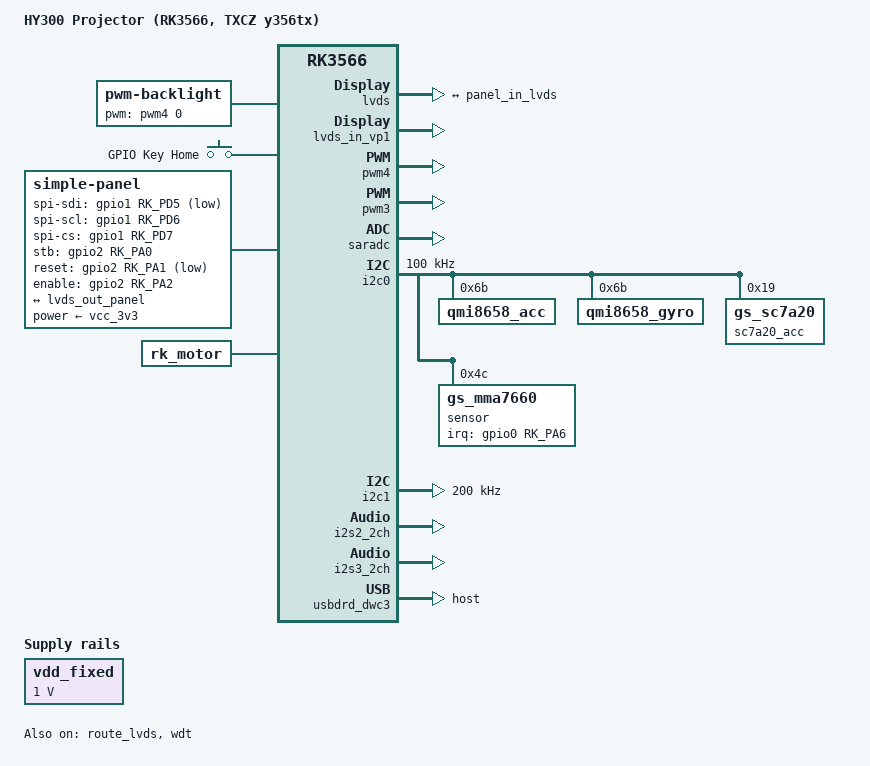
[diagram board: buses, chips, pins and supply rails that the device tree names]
// SPDX-License-Identifier: (GPL-2.0+ OR MIT)
/*
 * Projetor "HY300", variante Rockchip RK3566 com a ROM TXCZ LightOS
 * (placa rk3566_y356tx).
 *
 * O fabricante não publicou o fonte do kernel. Este DT foi reconstruído a partir do
 * DTB de fábrica (rk-kernel.dtb do resource.img, kernel 4.19.232): a TXCZ partiu da
 * placa de referência RK3566 BOX DEMO V10, então a base é a mesma placa no BSP 6.1
 * e aqui ficam só as diferenças. A comparação nó a nó com o DTB de fábrica é feita
 * com tools/dtnorm.py do repositório hy300-rk3566 (docs/kernel-6.1.md).
 *
 * Sem PMIC: a placa usa reguladores discretos, com vdd_cpu e vdd_logic por PWM.
 */

/dts-v1/;

#include "rk3566-box-demo-v10.dtsi"
#include "rk3568-android.dtsi"

/ {
	model = "HY300 Projector (RK3566, TXCZ y356tx)";
	/* Igual ao de fábrica: o U-Boot e o userspace da TXCZ não conhecem outro. */
	compatible = "rockchip,rk3566-box-demo-v10", "rockchip,rk3566";

	/*
	 * Teclas do painel do projetor no canal 1 do SARADC (a placa de referência usa o
	 * canal 0 com volume + e -).
	 */
	adc-keys {
		io-channels = <&saradc 1>;
		status = "okay";

		/delete-node/ vol-up-key;
		/delete-node/ vol-down-key;

		back-key {
			label = "back";
			linux,code = <KEY_BACK>;
			press-threshold-microvolt = <500>;
		};

		down-key {
			label = "down";
			linux,code = <KEY_DOWN>;
			press-threshold-microvolt = <980>;
		};

		left-key {
			label = "left";
			linux,code = <KEY_LEFT>;
			press-threshold-microvolt = <320>;
		};

		ok-key {
			label = "ok";
			linux,code = <KEY_ENTER>;
			press-threshold-microvolt = <160>;
		};

		right-key {
			label = "right";
			linux,code = <KEY_RIGHT>;
			press-threshold-microvolt = <40>;
		};

		up-key {
			label = "up";
			linux,code = <KEY_UP>;
			press-threshold-microvolt = <1345>;
		};
	};

	/* Brilho do LED do projetor (PWM4, 40 kHz). */
	backlight: backlight {
		compatible = "pwm-backlight";
		pwms = <&pwm4 0 25000 0>;
		brightness-levels = <
			  0   1   2   3   4   5   6   7   8   9  10  11  12  13  14  15
			 16  17  18  19  20  21  22  23  24  25  26  27  28  29  30  31
			 32  33  34  35  36  37  38  39  40  41  42  43  44  45  46  47
			 48  49  50  51  52  53  54  55  56  57  58  59  60  61  62  63
			 64  65  66  67  68  69  70  71  72  73  74  75  76  77  78  79
			 80  81  82  83  84  85  86  87  88  89  90  91  92  93  94  95
			 96  97  98  99 100 101 102 103 104 105 106 107 108 109 110 111
			112 113 114 115 116 117 118 119 120 121 122 123 124 125 126 127
			128 129 130 131 132 133 134 135 136 137 138 139 140 141 142 143
			144 145 146 147 148 149 150 151 152 153 154 155 156 157 158 159
			160 161 162 163 164 165 166 167 168 169 170 171 172 173 174 175
			176 177 178 179 180 181 182 183 184 185 186 187 188 189 190 191
			192 193 194 195 196 197 198 199 200 201 202 203 204 205 206 207
			208 209 210 211 212 213 214 215 216 217 218 219 220 221 222 223
			224 225 226 227 228 229 230 231 232 233 234 235 236 237 238 239
			240 241 242 243 244 245 246 247 248 249 250 251 252 253 254 255>;
		default-brightness-level = <200>;
	};

	/* Codec "mudo" para o I2S1 (áudio interno, amplificador sem controle). */
	dummy_codec: dummy-codec {
		compatible = "rockchip,dummy-codec";
		#sound-dai-cells = <0>;
		clocks = <&cru I2S1_MCLKOUT>;
		clock-names = "mclk";
		assigned-clocks = <&cru I2S1_MCLKOUT>, <&cru I2S1_MCLK_TX_IOE>;
		assigned-clock-rates = <12288000>;
		assigned-clock-parents = <&cru I2S1_MCLKOUT_TX>, <&cru I2S1_MCLKOUT_TX>;
		pinctrl-names = "default";
		pinctrl-0 = <&i2s1m0_mclk>;
		status = "okay";
	};

	gpio-keys {
		compatible = "gpio-keys";
		autorepeat;
		status = "okay";

		/*
		 * Botão de liga/desliga. Mesmo pino do LED "green" abaixo (GPIO1_B0), como no
		 * DT de fábrica.
		 */
		power-key {
			label = "GPIO Key Home";
			interrupt-parent = <&gpio1>;
			interrupts = <RK_PB0 IRQ_TYPE_NONE>;
			linux,input-type = <EV_KEY>;
			linux,code = <KEY_POWER>;
			debounce-interval = <10>;
		};
	};

	/*
	 * LEDs, ventoinha e alimentação do painel são saídas simples. Os nomes são os
	 * da TXCZ: o app de configurações acessa /sys/class/leds/<nome>.
	 */
	gpio-leds {
		/delete-node/ ir-led;
		/delete-node/ work-led;

		green {
			gpios = <&gpio1 RK_PB0 GPIO_ACTIVE_LOW>;
			linux,default-trigger = "none";
			default-state = "on";
			retain-state-suspended;
		};

		red {
			gpios = <&gpio1 RK_PB1 GPIO_ACTIVE_HIGH>;
			linux,default-trigger = "none";
			default-state = "on";
			retain-state-suspended;
		};

		/*
		 * Ventoinha: precisa estar ligada desde o boot e continuar ligada no shutdown
		 * (sem retain-state-shutdown o gpio-leds a apaga antes do reboot).
		 */
		Fan_h {
			gpios = <&gpio0 RK_PB5 GPIO_ACTIVE_HIGH>;
			linux,default-trigger = "none";
			default-state = "on";
			retain-state-suspended;
			retain-state-shutdown;
		};

		Lcd_power {
			gpios = <&gpio0 RK_PC4 GPIO_ACTIVE_HIGH>;
			linux,default-trigger = "none";
			default-state = "keep";
			retain-state-suspended;
		};
	};

	/* Codec "mudo" do lado do RK628 (áudio da entrada HDMI). */
	hdmi_in_codec: hdmi-codec {
		compatible = "rockchip,dummy-codec";
		#sound-dai-cells = <0>;
		status = "okay";
	};

	hdmi-in-sound {
		compatible = "simple-audio-card";
		simple-audio-card,format = "i2s";
		simple-audio-card,name = "rockchip,hdmiin";
		simple-audio-card,bitclock-master = <&hdmiin_codec_dai>;
		simple-audio-card,frame-master = <&hdmiin_codec_dai>;
		status = "okay";

		simple-audio-card,cpu {
			sound-dai = <&i2s3_2ch>;
		};

		hdmiin_codec_dai: simple-audio-card,codec {
			sound-dai = <&hdmi_in_codec>;
		};
	};

	/*
	 * Painel LVDS 1024x600. O Android de fábrica renderiza em 1280x720 e o HWC reduz.
	 * As linhas spi-* são do controlador do painel (a TXCZ não usa no kernel).
	 */
	panel: panel {
		compatible = "simple-panel";
		power-supply = <&vcc_3v3>;
		enable-delay-ms = <20>;
		prepare-delay-ms = <20>;
		unprepare-delay-ms = <20>;
		disable-delay-ms = <20>;
		pinctrl-names = "default";
		pinctrl-0 = <&lcd_rst_gpio &lcd_enable_gpio &lcd_sda &lcd_scl &lcd_cs &lcd_stb>;
		spi-sdi-gpios = <&gpio1 RK_PD5 GPIO_ACTIVE_LOW>;
		spi-scl-gpios = <&gpio1 RK_PD6 GPIO_ACTIVE_HIGH>;
		spi-cs-gpios = <&gpio1 RK_PD7 GPIO_ACTIVE_HIGH>;
		/*
		 * O controlador do painel LCD só mostra imagem depois de receber esta configuração
		 * por SPI de 3 fios em bit-bang (8 bits, MSB primeiro), igual ao panel_simple_probe
		 * do kernel de fábrica. Cada quadro: atraso em ms depois dele, tamanho e bytes.
		 * Tirada da Image de fábrica com tools/txcz_panel_seq.py (repositório hy300-rk3566).
		 * Os níveis são brutos: as flags de polaridade das linhas spi-* não se aplicam aqui.
		 */
		hy300,stb-gpios = <&gpio2 RK_PA0 GPIO_ACTIVE_HIGH>;
		hy300,spi-init-sequence = /bits/ 8 <
			0x00 0x07 0xf1 0x01 0x03 0xdf 0x91 0x68 0xf9
			0x00 0x05 0xf1 0x01 0x01 0xde 0x00
			0x00 0x06 0xf1 0x01 0x02 0xb2 0x00 0xb1
			0x00 0x06 0xf1 0x01 0x02 0xb3 0x00 0xb1
			0x00 0x06 0xf1 0x01 0x02 0xc1 0x00 0x0c
			0x00 0x0b 0xf1 0x01 0x07 0xbb 0x00 0x15 0x00 0x19 0x29 0x44 0x44
			0x00 0x06 0xf1 0x01 0x02 0xbe 0x1a 0xf1
			0x00 0x18 0xf1 0x01 0x14 0xc3 0x10 0x23 0x78 0x23 0x78 0x05 0x05 0x05 0x05 0x15 0x15 0x31 0x85 0x1c 0x05 0x6c 0x0a 0x10 0x0a 0x10
			0x00 0x0b 0xf1 0x01 0x07 0xc4 0x13 0x2c 0x00 0x1b 0x0a 0x07 0x14
			0x00 0x1b 0xf1 0x01 0x17 0xce 0x00 0x03 0x03 0x03 0x03 0x03 0x03 0x03 0x03 0x03 0x03 0x03 0x0f 0x0f 0x03 0x03 0x03 0x03 0x03 0x03 0x03 0x0f 0x0f
			0x00 0x11 0xf1 0x01 0x0d 0xcf 0x00 0x00 0x47 0x01 0x7c 0x01 0x7c 0x2f 0xff 0x06 0x7c 0x00 0x00
			0x00 0x1b 0xf1 0x01 0x17 0xd0 0x00 0x1f 0x02 0x00 0x08 0x08 0x0a 0x0a 0x04 0x04 0x06 0x06 0x17 0x17 0x17 0x17 0x1f 0x1f 0x15 0x1e 0x1e 0x1f 0x1f
			0x00 0x1b 0xf1 0x01 0x17 0xd1 0x00 0x1f 0x03 0x01 0x09 0x09 0x0b 0x0b 0x05 0x05 0x07 0x07 0x17 0x17 0x17 0x17 0x1f 0x1f 0x15 0x1e 0x1e 0x1f 0x1f
			0x00 0x1b 0xf1 0x01 0x17 0xd2 0x00 0x1f 0x01 0x03 0x07 0x07 0x05 0x05 0x0b 0x0b 0x09 0x09 0x17 0x17 0x17 0x17 0x1f 0x1f 0x15 0x1f 0x1f 0x1e 0x1e
			0x00 0x1b 0xf1 0x01 0x17 0xd3 0x00 0x1f 0x00 0x02 0x06 0x06 0x04 0x04 0x0a 0x0a 0x08 0x08 0x17 0x17 0x17 0x17 0x1f 0x1f 0x15 0x1f 0x1f 0x1e 0x1e
			0x00 0x2f 0xf1 0x01 0x2b 0xd4 0x30 0x00 0x00 0x06 0x00 0x08 0x00 0x00 0x00 0x00 0x00 0x03 0x03 0x00 0x00 0x80 0x06 0xc0 0x08 0x03 0x03 0x11 0x00 0x00 0x00 0x00 0x00 0x00 0x00 0x01 0x03 0x05 0x00 0x00 0x03 0x04 0xc7 0x04 0xc3 0x00 0x00 0x00 0x03
			0x00 0x17 0xf1 0x01 0x13 0xd5 0x68 0x73 0x00 0x0a 0x08 0x00 0x03 0x00 0x04 0x10 0x03 0x04 0x02 0xd3 0x1c 0xb3 0x00 0x00 0x00
			0x00 0x0a 0xf1 0x01 0x06 0xb7 0x10 0x1f 0x01 0x10 0x1f 0x01
			0x00 0x2a 0xf1 0x01 0x26 0xc8 0x7c 0x61 0x4e 0x3f 0x38 0x28 0x2a 0x13 0x2b 0x29 0x28 0x45 0x33 0x3b 0x30 0x2a 0x1a 0x0e 0x06 0x7c 0x61 0x4e 0x3f 0x38 0x28 0x2a 0x13 0x2b 0x29 0x28 0x45 0x33 0x3b 0x30 0x2a 0x1a 0x0e 0x06
			0x00 0x05 0xf1 0x01 0x01 0xde 0x02
			0x00 0x05 0xf1 0x01 0x01 0xc1 0x15
			0x00 0x05 0xf1 0x01 0x01 0xe7 0x01
			0x00 0x05 0xf1 0x01 0x01 0xde 0x00
			0x00 0x04 0xf1 0x01 0x00 0x11
			0xc8 0x04 0xf1 0x01 0x00 0x29
			0x00 0x00
		>;
		reset-gpios = <&gpio2 RK_PA1 GPIO_ACTIVE_LOW>;
		enable-gpios = <&gpio2 RK_PA2 GPIO_ACTIVE_HIGH>;
		width-mm = <217>;
		height-mm = <136>;

		display-timings {
			native-mode = <&timing0>;

			timing0: timing0 {
				clock-frequency = <40195000>;
				hactive = <1024>;
				vactive = <600>;
				hback-porch = <20>;
				hfront-porch = <20>;
				vback-porch = <4>;
				vfront-porch = <10>;
				hsync-len = <20>;
				vsync-len = <4>;
				hsync-active = <0>;
				vsync-active = <0>;
				de-active = <0>;
				pixelclk-active = <0>;
			};
		};

		ports {
			#address-cells = <1>;
			#size-cells = <0>;

			port@0 {
				reg = <0>;
				dual-lvds-even-pixels;

				panel_in_lvds: endpoint {
					remote-endpoint = <&lvds_out_panel>;
				};
			};
		};
	};

	/* Áudio interno: I2S1 -> codec mudo. */
	rockchip-i2s-sound {
		compatible = "simple-audio-card";
		simple-audio-card,name = "rockchip,rockchip-i2s-sound";
		simple-audio-card,format = "i2s";
		simple-audio-card,mclk-fs = <256>;
		status = "okay";

		simple-audio-card,cpu {
			sound-dai = <&i2s1_8ch>;
		};

		simple-audio-card,codec {
			sound-dai = <&dummy_codec>;
		};
	};

	/*
	 * Motor de foco. No DT de fábrica o nó não tem propriedades: o driver fechado da
	 * TXCZ (rk_motor/usb-cam-gpio, /sys/class/motor_cc) fixa os pinos no código.
	 * Não existe driver no 6.1; o nó fica para documentar a compatibilidade.
	 */
	rk_motor {
		compatible = "rk_motor", "usb-cam-gpio";
	};
};

/* Saída HDMI não existe nesta placa: a imagem vai para o LVDS. */
&hdmi {
	status = "disabled";
};

&hdmi_in_vp0 {
	status = "disabled";
};

&hdmi_sound {
	status = "disabled";
};

&route_hdmi {
	status = "disabled";
};

&route_lvds {
	status = "okay";
	connect = <&vp1_out_lvds>;
};

&lvds {
	status = "okay";

	ports {
		port@1 {
			reg = <1>;

			lvds_out_panel: endpoint {
				remote-endpoint = <&panel_in_lvds>;
			};
		};
	};
};

&lvds_in_vp1 {
	status = "okay";
};

/*
 * Como na fábrica, o VOP não mexe na tensão do vdd_logic: sem a tabela de OPP do 6.1
 * (que desce o vdd_logic para 0,875-0,95 V conforme o clock do VOP).
 */
&vop {
	/delete-property/ vop-supply;
	/delete-property/ operating-points-v2;
	/delete-property/ rockchip,aclk-normal-mode-rates;
	/delete-property/ rockchip,aclk-advanced-mode-rates;
};

/* Backlight. */
&pwm4 {
	status = "okay";
};

/*
 * Controle remoto: a TXCZ usa o PWM3 (a placa de referência usa o PWM15). As tabelas
 * são as do DT de fábrica, na mesma ordem.
 */
&pwm3 {
	compatible = "rockchip,remotectl-pwm";
	pinctrl-names = "default";
	pinctrl-0 = <&pwm3_pins>;
	remote_pwm_id = <3>;
	handle_cpu_id = <1>;
	remote_support_psci = <0>;
	status = "okay";

	ir_key1 {
		rockchip,usercode = <0xdf00>;
		rockchip,key_table =
			<0xab	KEY_1>,
			<0xe9	KEY_2>,
			<0xea	KEY_3>,
			<0xaf	KEY_4>,
			<0xed	KEY_5>,
			<0xb3	KEY_7>,
			<0xf1	KEY_8>,
			<0xf2	KEY_9>,
			<0xf3	KEY_0>,
			<0xe3	KEY_POWER>,
			<0xe7	KEY_MENU>,
			<0xfc	KEY_HOME>,
			<0xf5	KEY_BACK>,
			<0xb0	KEY_VOLUMEDOWN>,
			<0xb4	KEY_VOLUMEUP>,
			<0xa5	KEY_MUTE>,
			<0xf9	KEY_REPLY>,
			<0xe5	KEY_UP>,
			<0xb7	KEY_DOWN>,
			<0xb8	KEY_LEFT>,
			<0xf8	KEY_RIGHT>,
			<0xef	KEY_F7>,
			<0xee	KEY_TEXT>,
			<0xa2	KEY_F11>,
			<0xa3	KEY_F12>,
			<0xe4	KEY_F15>,
			<0xb6	KEY_F16>,
			<0xa0	KEY_REDO>,
			<0x8b	KEY_F14>,
			<0xbd	KEY_F17>;
	};

	ir_key2 {
		rockchip,usercode = <0xfe01>;
		rockchip,key_table =
			<0xbf	KEY_POWER>,
			<0xb3	KEY_MENU>,
			<0xee	KEY_HOME>,
			<0xe6	KEY_BACK>,
			<0xef	KEY_VOLUMEDOWN>,
			<0xe7	KEY_VOLUMEUP>,
			<0xec	KEY_REPLY>,
			<0xe9	KEY_UP>,
			<0xe5	KEY_DOWN>,
			<0xae	KEY_LEFT>,
			<0xaf	KEY_RIGHT>,
			<0xf0	KEY_F17>,
			<0xbe	KEY_MUTE>,
			<0xbc	KEY_F18>,
			<0xff	KEY_TEXT>;
	};

	ir_key3 {
		rockchip,usercode = <0xf708>;
		rockchip,key_table =
			<0xf4	KEY_POWER>,
			<0xe8	KEY_MENU>,
			<0xbd	KEY_HOME>,
			<0xbe	KEY_BACK>,
			<0xe3	KEY_VOLUMEDOWN>,
			<0xf1	KEY_VOLUMEUP>,
			<0xe1	KEY_REPLY>,
			<0xed	KEY_UP>,
			<0xec	KEY_DOWN>,
			<0xea	KEY_LEFT>,
			<0x07	KEY_KPRIGHTPAREN>,
			<0x0e	KEY_F14>,
			<0xeb	KEY_RIGHT>;
	};

	ir_key4 {
		rockchip,usercode = <0xfc03>;
		rockchip,key_table =
			<0xe2	KEY_POWER>,
			<0xe1	KEY_MENU>,
			<0xf1	KEY_HOME>,
			<0xf2	KEY_BACK>,
			<0xea	KEY_VOLUMEDOWN>,
			<0xee	KEY_VOLUMEUP>,
			<0xf4	KEY_REPLY>,
			<0xf6	KEY_UP>,
			<0xfe	KEY_DOWN>,
			<0xf5	KEY_LEFT>,
			<0xf7	KEY_RIGHT>,
			<0xe6	KEY_F17>,
			<0xfd	KEY_MUTE>,
			<0xf8	KEY_F18>,
			<0xfa	KEY_TEXT>;
	};

	ir_key5 {
		rockchip,usercode = <0xff00>;
		rockchip,key_table =
			<0xeb	KEY_POWER>,
			<0xec	KEY_MENU>,
			<0xb7	KEY_HOME>,
			<0xa3	KEY_BACK>,
			<0xa7	KEY_VOLUMEDOWN>,
			<0xf4	KEY_VOLUMEUP>,
			<0xf8	KEY_REPLY>,
			<0xfc	KEY_UP>,
			<0xfd	KEY_DOWN>,
			<0xf1	KEY_LEFT>,
			<0xe5	KEY_RIGHT>,
			<0x6c	KEY_F17>,
			<0xfe	KEY_MUTE>,
			<0x67	KEY_F18>,
			<0x7d	KEY_TEXT>;
	};

	ir_key6 {
		rockchip,usercode = <0x707>;
		rockchip,key_table =
			<0xab	KEY_1>,
			<0xe9	KEY_2>,
			<0xea	KEY_3>,
			<0xaf	KEY_4>,
			<0xb3	KEY_7>,
			<0xf1	KEY_8>,
			<0xf2	KEY_9>,
			<0xf3	KEY_0>,
			<0xfd	KEY_POWER>,
			<0xe5	KEY_MENU>,
			<0xc1	KEY_HOME>,
			<0xd2	KEY_BACK>,
			<0xf4	KEY_VOLUMEDOWN>,
			<0xf8	KEY_VOLUMEUP>,
			<0xf0	KEY_MUTE>,
			<0x97	KEY_REPLY>,
			<0x9f	KEY_UP>,
			<0x9e	KEY_DOWN>,
			<0x9a	KEY_LEFT>,
			<0x9d	KEY_RIGHT>,
			<0x7d	KEY_TEXT>,
			<0xa2	KEY_F11>,
			<0xa3	KEY_F17>,
			<0xed	KEY_F15>,
			<0xef	KEY_F16>,
			<0xa0	KEY_REDO>,
			<0x8b	KEY_F14>,
			<0x77	KEY_F19>;
	};
};

/* PWM15 volta a ser um PWM comum (desligado), como na fábrica. */
&pwm15 {
	compatible = "rockchip,rk3568-pwm", "rockchip,rk3328-pwm";
	pinctrl-names = "active";
	pinctrl-0 = <&pwm15m0_pins>;
	/delete-property/ remote_pwm_id;
	/delete-property/ handle_cpu_id;
	/delete-property/ remote_support_psci;
	status = "disabled";

	/delete-node/ ir_key1;
	/delete-node/ ir_key2;
	/delete-node/ ir_key3;
};

/* Teclas do painel. */
&saradc {
	status = "okay";
};

/*
 * eMMC. A fábrica roda em HS200 a 150 MHz (dmesg: "new HS200 MMC card").
 */
/*
 * O U-Boot de fábrica troca o próprio DT por este (rk-kernel.dtb do resource) antes de ler
 * a imagem e só conhece o eMMC por "snps,dwcmshc-sdhci". Sem ele o U-Boot perde o eMMC e
 * trava antes do logo. O kernel usa o primeiro compatible.
 */
&sdhci {
	compatible = "rockchip,rk3568-dwcmshc", "snps,dwcmshc-sdhci";
	max-frequency = <150000000>;
	mmc-hs200-1_8v;
};

/* SDIO do Wi-Fi (AIC8800): a fábrica limita a 50 MHz. */
&sdmmc1 {
	max-frequency = <50000000>;
};

/*
 * Acelerômetro do keystone automático. O chip presente é o SC7A20 (0x19; o dmesg de
 * fábrica lê o id 0x11), com driver no 6.1 (GS_SC7A20). QMI8658 e MMA7660 são
 * alternativas da TXCZ para outras montagens e falham no probe, como na fábrica.
 */
&i2c0 {
	clock-frequency = <100000>;
	status = "okay";

	qmi8658_acc@6b {
		compatible = "qmi8658_acc";
		reg = <0x6b>;
		irq_enable = <0>;
		poll_delay_ms = <30>;
		type = <SENSOR_TYPE_ACCEL>;
		layout = <1>;
		reprobe_en = <1>;
		status = "okay";
	};

	qmi8658_gyro@6b {
		compatible = "qmi8658_gyro";
		reg = <0x6b>;
		irq_enable = <0>;
		poll_delay_ms = <30>;
		type = <SENSOR_TYPE_GYROSCOPE>;
		layout = <1>;
		reprobe_en = <1>;
		status = "okay";
	};

	sc7a20_acc@19 {
		compatible = "gs_sc7a20";
		reg = <0x19>;
		irq_enable = <0>;
		poll_delay_ms = <30>;
		type = <SENSOR_TYPE_ACCEL>;
		layout = <1>;
		reprobe_en = <1>;
		status = "okay";
	};

	sensor@4c {
		compatible = "gs_mma7660";
		reg = <0x4c>;
		irq-gpio = <&gpio0 RK_PA6 IRQ_TYPE_LEVEL_LOW>;
		irq_enable = <0>;
		poll_delay_ms = <5>;
		type = <SENSOR_TYPE_ACCEL>;
		layout = <3>;
		reprobe_en = <1>;
		status = "okay";
	};
};

/*
 * Entrada HDMI: ponte RK628 (HDMI -> MIPI CSI) no I2C1. O driver existe no 6.1
 * (VIDEO_RK628_CSI), mas fica desligado no marco 1: ver docs/kernel-6.1.md.
 */
&i2c1 {
	clock-frequency = <200000>;
	status = "okay";

	rk628_csi: rk628_csi_v4l2@50 {
		compatible = "rockchip,rk628-csi-v4l2";
		reg = <0x50>;
		interrupt-parent = <&gpio0>;
		interrupts = <RK_PC5 IRQ_TYPE_LEVEL_HIGH>;
		pinctrl-names = "default";
		pinctrl-0 = <&rk628_plugin_h>;
		hdcp-enable = <1>;
		enable-gpios = <&gpio0 RK_PB0 GPIO_ACTIVE_HIGH>;
		reset-gpios = <&gpio0 RK_PC7 GPIO_ACTIVE_LOW>;
		plugin-det-gpios = <&gpio0 RK_PC6 GPIO_ACTIVE_LOW>;
		rockchip,camera-module-index = <0>;
		rockchip,camera-module-facing = "back";
		rockchip,camera-module-name = "RK628-CSI";
		rockchip,camera-module-lens-name = "NC";
		status = "disabled";

		port {
			rk628_out: endpoint {
				remote-endpoint = <&mipi_in_rk628>;
				data-lanes = <1 2 3 4>;
			};
		};
	};
};

/* Câmeras da placa de referência não existem aqui. */
&i2c2 {
	status = "disabled";

	/delete-node/ gc4c33@29;
	/delete-node/ gc8034@37;
};

&csi2_dphy0 {
	ports {
		port@0 {
			/delete-node/ endpoint@1;
			/delete-node/ endpoint@2;

			mipi_in_rk628: endpoint@0 {
				reg = <0>;
				remote-endpoint = <&rk628_out>;
				data-lanes = <1 2 3 4>;
			};
		};

		port@1 {
			/delete-node/ endpoint@1;

			csidphy0_out: endpoint@0 {
				reg = <0>;
				remote-endpoint = <&isp0_in>;
			};
		};
	};
};

&rkisp_vir0 {
	port {
		/delete-node/ endpoint@0;

		isp0_in: endpoint@0 {
			reg = <0>;
			remote-endpoint = <&csidphy0_out>;
		};
	};
};

/* I2S1: áudio interno, só saída (sdo0), sem TRCM. */
&i2s1_8ch {
	/delete-property/ rockchip,trcm-sync-tx-only;
	pinctrl-0 = <&i2s1m0_sclktx &i2s1m0_sclkrx &i2s1m0_lrcktx &i2s1m0_lrckrx &i2s1m0_sdo0>;
};

&i2s2_2ch {
	status = "okay";
};

/* I2S3: áudio da entrada HDMI (RK628). */
&i2s3_2ch {
	status = "okay";
};

&spdif_8ch {
	status = "disabled";
};

&spdif_out {
	status = "disabled";
};

&{/spdif-sound} {
	status = "disabled";
};

/* VCCIO4 e VCCIO6 são de 1,8 V nesta placa (a de referência usa 3,3 V). */
&pmu_io_domains {
	vccio4-supply = <&vcc_1v8>;
	vccio6-supply = <&vcc_1v8>;
};

/* Tensões iguais às da fábrica. */
&vdd_cpu {
	regulator-init-microvolt = <1000000>;
};

&vdd_fixed {
	regulator-min-microvolt = <1000000>;
	regulator-max-microvolt = <1000000>;
};

/*
 * O DT de fábrica liga o camera-pwr ao GPIO0_C3, que é o pino do PWM4 (backlight);
 * o regulador usa o GPIO0_C5. Aqui o pinctrl segue o GPIO do regulador.
 */

&vcc5v0_otg {
	gpio = <&gpio0 RK_PC1 GPIO_ACTIVE_HIGH>;
};

&vcc5v0_otg_en {
	rockchip,pins = <0 RK_PC1 RK_FUNC_GPIO &pcfg_pull_none>;
};

/* A única USB é a porta A (host); OTG, SATA e a segunda PHY não são usados. */
&usbdrd_dwc3 {
	dr_mode = "host";
};

&sata2 {
	status = "disabled";
};

&u2phy1_host {
	status = "disabled";
};

&u2phy1_otg {
	status = "disabled";
};

&usb_host0_ehci {
	status = "disabled";
};

&usb_host0_ohci {
	status = "disabled";
};

&usb_host1_ehci {
	status = "disabled";
};

&usb_host1_ohci {
	status = "disabled";
};

/*
 * O 6.1 põe o clock de 32 kHz no GPIO0_B0, que nesta placa é o enable do RK628.
 * A fábrica deixa o pino como GPIO.
 */
&xin32k {
	/delete-property/ pinctrl-names;
	/delete-property/ pinctrl-0;
};

/*
 * Não há Ethernet. A fábrica deixa o gmac1 ligado (e ele falha no boot), mexendo nos
 * pinos do gmac1m1 e num GPIO de reset. No marco 1 ele fica desligado.
 */
&gmac1 {
	status = "disabled";
};

/* NPU desligada, como na fábrica. */
&rknpu {
	status = "disabled";
};

&rkvenc_mmu {
	rockchip,shootdown-entire;
};

&rkvdec_mmu {
	rockchip,shootdown-entire;
};

&wdt {
	status = "okay";
};

&pinctrl {
	panel {
		lcd_rst_gpio: lcd-rst-gpio {
			rockchip,pins = <2 RK_PA1 RK_FUNC_GPIO &pcfg_pull_none>;
		};

		lcd_enable_gpio: lcd-enable-gpio {
			rockchip,pins = <2 RK_PA2 RK_FUNC_GPIO &pcfg_pull_none>;
		};

		lcd_sda: lcd-sda {
			rockchip,pins = <1 RK_PD5 RK_FUNC_GPIO &pcfg_pull_up>;
		};

		lcd_scl: lcd-scl {
			rockchip,pins = <1 RK_PD6 RK_FUNC_GPIO &pcfg_pull_up>;
		};

		lcd_cs: lcd-cs {
			rockchip,pins = <1 RK_PD7 RK_FUNC_GPIO &pcfg_pull_up>;
		};

		lcd_stb: lcd-stb {
			rockchip,pins = <2 RK_PA0 RK_FUNC_GPIO &pcfg_pull_up>;
		};
	};

	rk628 {
		rk628_plugin_h: rk628_plugin-h {
			rockchip,pins = <0 RK_PC6 RK_FUNC_GPIO &pcfg_pull_up_drv_level_4>;
		};
	};
};

/*
 * GPU Mali-G52 para o Panfrost (o mali_kbase do BSP fica desligado). O Panfrost procura as
 * interrupções em minúsculas e liga o segundo clock só pelo nome "bus"; sem o CLK_GPU ligado
 * o acesso aos registradores da GPU trava o barramento. Mesmos nomes do rk356x.dtsi do
 * mainline.
 */
&gpu {
	interrupt-names = "gpu", "mmu", "job";
	clock-names = "gpu", "bus";
};

/*
 * DVFS da GPU pelo devfreq do Panfrost, com a tabela do BSP (até 700 MHz; o rk3566-box.dtsi
 * já tira os 800 MHz). O opp-supported-hw é lido pelo código de OPP da Rockchip, que o
 * Panfrost não usa; o núcleo de OPP descarta toda OPP com essa propriedade quando ninguém
 * informou o hardware, e a GPU ficaria sem tabela. Todas as OPPs da GPU têm a mesma máscara,
 * então tirar a propriedade não libera nenhuma que o chip não aceite. A GPU é alimentada pelo
 * vdd_fixed (1,0 V fixo, compartilhado): o máximo de cada OPP é 1,0 V, então a tensão nunca
 * muda e só o clock (SCMI) sobe e desce.
 */
&gpu_opp_table {
	opp-200000000 {
		/delete-property/ opp-supported-hw;
	};
	opp-300000000 {
		/delete-property/ opp-supported-hw;
	};
	opp-400000000 {
		/delete-property/ opp-supported-hw;
	};
	opp-600000000 {
		/delete-property/ opp-supported-hw;
	};
	opp-700000000 {
		/delete-property/ opp-supported-hw;
	};
};
